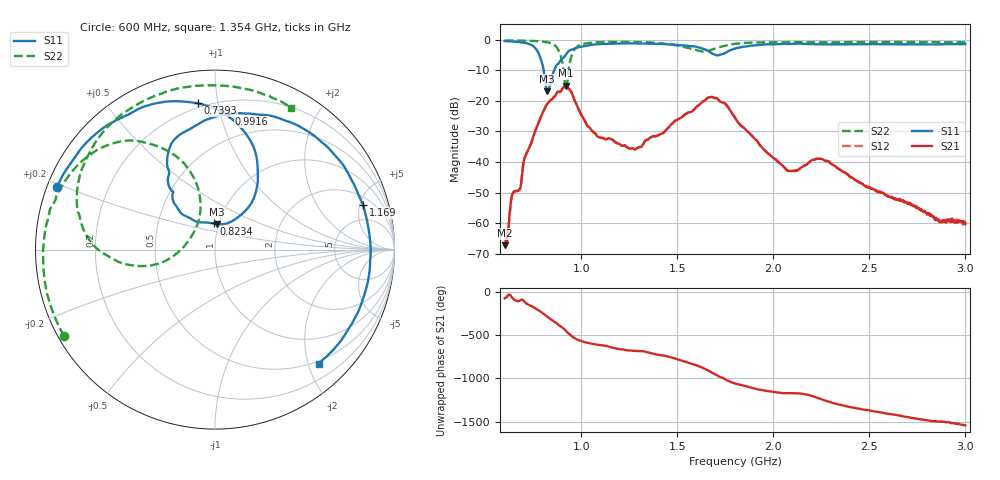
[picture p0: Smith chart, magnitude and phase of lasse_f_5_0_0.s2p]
#  HZ  S  RI  R  50.00
! Rohde & Schwarz ZVB8 2Ports - Version 2.81 - 1145.1010k08 SN: 100113
! Date: 2016-05-04 02:49:16
! Measurements: S11 S21 S12 S22
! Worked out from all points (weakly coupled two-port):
!   1000 points, 600 MHz to 3 GHz, reference 50 ohm
!   highest |S21| = -15.02 dB at 919.5 MHz (marker M1); lowest = -67.2 dB at 600 MHz (marker M2)
!   lowest |S11| = -16.9 dB at 821 MHz (marker M3), VSWR 1.33, Z = 49.2 + j14.3 ohm
!   |S11| at or under -10 dB: 803 MHz to 858 MHz (55.04 MHz wide, 6.63 % of centre)
!   |S22| runs from -16.5 to -0.3 dB; largest |S21 - S12| = 0.0016
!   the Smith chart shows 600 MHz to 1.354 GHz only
!   S11 on the Smith chart (normalised r, x): 600 MHz: 0.03, +0.19; 739.3 MHz: 0.18, +0.87; 823.4 MHz: 0.94, +0.28; 991.6 MHz: 0.30, +1.06; 1.169 GHz: 2.77, +5.35; 1.354 GHz: 0.45, -2.19
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6e8  -0.8804 0.3504  8.76e-05 -0.000427  0.000117 -0.000403  -0.8422 -0.4819
6.408408e8  -0.7534 0.5533  0.000851 -0.00283  0.000813 -0.00292  -0.9087 -0.3327
7.393393e8  -0.0951 0.8149  -0.0202 -0.00448  -0.0201 -0.00441  -0.9522 0.0643
7.84985e8  0.2374 0.4599  -0.0338 0.0385  -0.0338 0.038  -0.8938 0.2671
8.21021e8  0.0123 0.1423  0.0268 0.0843  0.0264 0.0843  -0.7991 0.4314
8.234234e8  -0.00832 0.1457  0.0339 0.0839  0.0335 0.0838  -0.7901 0.4428
8.786787e8  -0.2339 0.3229  0.1312 -0.0518  0.1314 -0.0513  -0.357 0.5877
9.195195e8  -0.266 0.5082  -0.0119 -0.1771  -0.0108 -0.1765  -0.1235 0.0859
9.915916e8  0.0785 0.7567  -0.0598 0.0285  -0.0601 0.0282  -0.77 0.2653
1.001201e9  0.1328 0.76  -0.0486 0.0313  -0.0487 0.0309  -0.7682 0.3314
1.169369e9  0.8241 0.25  0.00859 0.0203  0.00842 0.0203  -0.2842 0.8757
1.354354e9  0.5791 -0.6357  0.0239 0.00588  0.0238 0.00605  0.4218 0.7914
1.4e9  0.3894 -0.759  0.0269 -0.00428  0.0269 -0.00413  0.5675 0.6772
1.669069e9  -0.5154 -0.3611  -0.106 0.0427  -0.1064 0.0417  0.6655 0.00806
1.801201e9  -0.6505 -0.307  0.0498 0.016  0.0496 0.0162  0.7569 -0.3999
1.976577e9  -0.7697 0.3445  0.00462 -0.0127  0.00477 -0.0126  0.2957 -0.8544
2.082282e9  -0.5147 0.6793  -0.000248 -0.0072  -0.000278 -0.00717  -0.0445 -0.9058
2.2e9  -0.0548 0.8413  -0.00612 -0.00876  -0.00601 -0.00879  -0.3879 -0.8187
2.425826e9  0.7346 0.4131  -0.00052 0.00502  -0.00055 0.00504  -0.8094 -0.4229
2.601201e9  0.7756 -0.3285  0.00244 0.00132  0.00237 0.00129  -0.9156 -0.0212
2.798198e9  0.1679 -0.8196  0.00101 -0.00101  0.00104 -0.000977  -0.8123 0.4123
3e9  -0.5344 -0.652  -0.000251 -0.00093  -0.000235 -0.000968  -0.5127 0.7421
